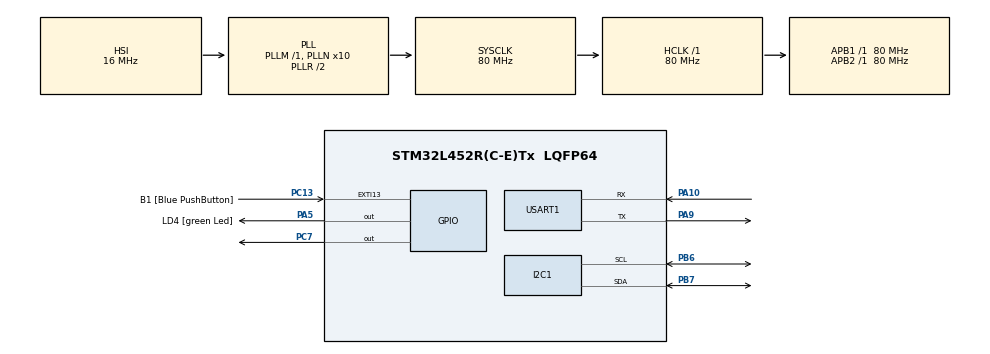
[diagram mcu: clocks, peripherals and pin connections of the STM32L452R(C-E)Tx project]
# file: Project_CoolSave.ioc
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I2C1.Timing=0x10D19CE4
Mcu.Family=STM32L4
Mcu.Name=STM32L452R(C-E)Tx
Mcu.Package=LQFP64
NVIC.PriorityGroup=NVIC_PRIORITYGROUP_4
PA10.Mode=Asynchronous
PA10.Signal=USART1_RX
PA13\ (JTMS/SWDIO).GPIO_Label=TMS
PA13\ (JTMS/SWDIO).Mode=Serial_Wire
PA13\ (JTMS/SWDIO).Signal=SYS_JTMS-SWDIO
PA14\ (JTCK/SWCLK).GPIO_Label=TCK
PA14\ (JTCK/SWCLK).Mode=Serial_Wire
PA14\ (JTCK/SWCLK).Signal=SYS_JTCK-SWCLK
PA2.GPIO_Label=USART_TX
PA2.GPIO_Mode=GPIO_MODE_AF_PP
PA2.GPIO_PuPd=GPIO_NOPULL
PA2.GPIO_Speed=GPIO_SPEED_FREQ_VERY_HIGH
PA2.Signal=USART2_TX
PA3.GPIO_Label=USART_RX
PA3.GPIO_Mode=GPIO_MODE_AF_PP
PA3.GPIO_PuPd=GPIO_NOPULL
PA3.GPIO_Speed=GPIO_SPEED_FREQ_VERY_HIGH
PA3.Signal=USART2_RX
PA5.GPIO_Label=LD4 [green Led]
PA5.GPIO_ModeDefaultOutputPP=GPIO_MODE_OUTPUT_PP
PA5.GPIO_PuPd=GPIO_NOPULL
PA5.GPIO_Speed=GPIO_SPEED_FREQ_LOW
PA5.Signal=GPIO_Output
PA9.Mode=Asynchronous
PA9.Signal=USART1_TX
PB3\ (JTDO/TRACESWO).GPIO_Label=SWO
PB3\ (JTDO/TRACESWO).Signal=SYS_JTDO-SWO
PB6.Mode=I2C
PB6.Signal=I2C1_SCL
PB7.Mode=I2C
PB7.Signal=I2C1_SDA
PC13.GPIO_Label=B1 [Blue PushButton]
PC13.GPIO_ModeDefaultEXTI=GPIO_MODE_IT_FALLING
PC13.GPIO_PuPd=GPIO_NOPULL
PC13.Signal=GPXTI13
PC14-OSC32_IN\ (PC14).Mode=LSE-External-Oscillator
PC14-OSC32_IN\ (PC14).Signal=RCC_OSC32_IN
PC15-OSC32_OUT\ (PC15).Mode=LSE-External-Oscillator
PC15-OSC32_OUT\ (PC15).Signal=RCC_OSC32_OUT
PC7.Signal=GPIO_Output
PH0-OSC_IN\ (PH0).Signal=RCC_OSC_IN
PH1-OSC_OUT\ (PH1).Signal=RCC_OSC_OUT
ProjectManager.HeapSize=0x200
ProjectManager.StackSize=0x400
ProjectManager.TargetToolchain=STM32CubeIDE
RCC.ADCFreq_Value=64000000
RCC.AHBFreq_Value=80000000
RCC.APB1Freq_Value=80000000
RCC.APB1TimFreq_Value=80000000
RCC.APB2Freq_Value=80000000
RCC.APB2TimFreq_Value=80000000
RCC.CortexFreq_Value=80000000
RCC.HCLKFreq_Value=80000000
RCC.HSE_VALUE=8000000
RCC.HSI48_VALUE=48000000
RCC.HSI_VALUE=16000000
RCC.MSI_VALUE=4000000
RCC.PLLN=10
RCC.PLLSourceVirtual=RCC_PLLSOURCE_HSI
RCC.PREFETCH_ENABLE=1
RCC.SYSCLKFreq_VALUE=80000000
RCC.SYSCLKSource=RCC_SYSCLKSOURCE_PLLCLK
RCC.USBFreq_Value=64000000
RCC.VCOOutputFreq_Value=160000000
TIM2.Period=65535
TIM2.Prescaler=79
USART1.VirtualMode-Asynchronous=VM_ASYNC
VP_TIM2_VS_ClockSourceINT.Mode=Internal
board=NUCLEO-L452RE

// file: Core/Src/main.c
/* USER CODE BEGIN Header */
/**
  ******************************************************************************
  * @file           : main.c
  * @brief          : Main program body
  ******************************************************************************
  * @attention
  *
  * Copyright (c) 2025 STMicroelectronics.
  * All rights reserved.
  *
  * This software is licensed under terms that can be found in the LICENSE file
  * in the root directory of this software component.
  * If no LICENSE file comes with this software, it is provided AS-IS.
  *
  ******************************************************************************
  */
/* USER CODE END Header */
#include "main.h"

/* USER CODE BEGIN Includes */
#include "dht11.h"
#include <stdio.h>
#include <string.h>
#include "AP3216.h"

/* USER CODE END Includes */

/* USER CODE BEGIN PD */
char buffer[64];
DHT11_Data dht;
/* USER CODE END PD */

I2C_HandleTypeDef hi2c1;

TIM_HandleTypeDef htim2;

UART_HandleTypeDef huart1;

/* USER CODE BEGIN PV */
void delay_us(uint16_t us)
{
    __HAL_TIM_SET_COUNTER(&htim2, 0);  // Resetează timerul
    HAL_TIM_Base_Start(&htim2);
    while (__HAL_TIM_GET_COUNTER(&htim2) < us);
    HAL_TIM_Base_Stop(&htim2);
}
/* USER CODE END PV */

void SystemClock_Config(void);
static void MX_GPIO_Init(void);
static void MX_I2C1_Init(void);
static void MX_USART1_UART_Init(void);
static void MX_TIM2_Init(void);

int main(void)
{

  /* MCU Configuration--------------------------------------------------------*/

  /* Reset of all peripherals, Initializes the Flash interface and the Systick. */
  HAL_Init();

  /* USER CODE BEGIN Init */
  //AP3216C_Data sensor;

  /* USER CODE END Init */

  /* Configure the system clock */
  SystemClock_Config();

  /* Initialize all configured peripherals */
  MX_GPIO_Init();
  MX_I2C1_Init();
  MX_USART1_UART_Init();
  MX_TIM2_Init();
  /* USER CODE BEGIN 2 */
  DHT11_Init(GPIOC, GPIO_PIN_7);
  AP3216C_Init(&hi2c1);

  /* USER CODE END 2 */

  /* Infinite loop */
  while (1)
  {

    /* USER CODE BEGIN 3 */
	  DHT11_Data dht;

	  if (DHT11_Read(&dht)) {
	      char msg[64];
	      sprintf(msg, "Temperature: %d degC, Humidity: %d%%\r\n", dht.temperature, dht.humidity);
	      HAL_UART_Transmit(&huart1, (uint8_t *)msg, strlen(msg), HAL_MAX_DELAY);
	  } else {
	      HAL_UART_Transmit(&huart1, (uint8_t *)"DHT11 read error\r\n", 19, HAL_MAX_DELAY);
	  }
	  HAL_Delay(2000);

	  AP3216C_Data light;

	  if (AP3216C_ReadALS(&light) == HAL_OK) {
	      char msg[64];
	      sprintf(msg, "Ambient Light: %.2f lux\r\n", light.als_lux);
	      HAL_UART_Transmit(&huart1, (uint8_t *)msg, strlen(msg), HAL_MAX_DELAY);
	  } else {
	      HAL_UART_Transmit(&huart1, (uint8_t *)"ALS read error\r\n", 17, HAL_MAX_DELAY);
	  }
	  HAL_Delay(5000);

  }
  /* USER CODE END 3 */
}

void SystemClock_Config(void)
{
  RCC_OscInitTypeDef RCC_OscInitStruct = {0};
  RCC_ClkInitTypeDef RCC_ClkInitStruct = {0};

  /** Configure the main internal regulator output voltage
  */
  if (HAL_PWREx_ControlVoltageScaling(PWR_REGULATOR_VOLTAGE_SCALE1) != HAL_OK)
  {
    Error_Handler();
  }

  /** Initializes the RCC Oscillators according to the specified parameters
  * in the RCC_OscInitTypeDef structure.
  */
  RCC_OscInitStruct.OscillatorType = RCC_OSCILLATORTYPE_HSI;
  RCC_OscInitStruct.HSIState = RCC_HSI_ON;
  RCC_OscInitStruct.HSICalibrationValue = 64;
  RCC_OscInitStruct.PLL.PLLState = RCC_PLL_ON;
  RCC_OscInitStruct.PLL.PLLSource = RCC_PLLSOURCE_HSI;
  RCC_OscInitStruct.PLL.PLLM = 1;
  RCC_OscInitStruct.PLL.PLLN = 10;
  RCC_OscInitStruct.PLL.PLLP = RCC_PLLP_DIV7;
  RCC_OscInitStruct.PLL.PLLQ = RCC_PLLQ_DIV2;
  RCC_OscInitStruct.PLL.PLLR = RCC_PLLR_DIV2;
  if (HAL_RCC_OscConfig(&RCC_OscInitStruct) != HAL_OK)
  {
    Error_Handler();
  }

  /** Initializes the CPU, AHB and APB buses clocks
  */
  RCC_ClkInitStruct.ClockType = RCC_CLOCKTYPE_HCLK|RCC_CLOCKTYPE_SYSCLK
                              |RCC_CLOCKTYPE_PCLK1|RCC_CLOCKTYPE_PCLK2;
  RCC_ClkInitStruct.SYSCLKSource = RCC_SYSCLKSOURCE_PLLCLK;
  RCC_ClkInitStruct.AHBCLKDivider = RCC_SYSCLK_DIV1;
  RCC_ClkInitStruct.APB1CLKDivider = RCC_HCLK_DIV1;
  RCC_ClkInitStruct.APB2CLKDivider = RCC_HCLK_DIV1;

  if (HAL_RCC_ClockConfig(&RCC_ClkInitStruct, FLASH_LATENCY_4) != HAL_OK)
  {
    Error_Handler();
  }
}

static void MX_I2C1_Init(void)
{

  hi2c1.Instance = I2C1;
  hi2c1.Init.Timing = 0x10D19CE4;
  hi2c1.Init.OwnAddress1 = 0;
  hi2c1.Init.AddressingMode = I2C_ADDRESSINGMODE_7BIT;
  hi2c1.Init.DualAddressMode = I2C_DUALADDRESS_DISABLE;
  hi2c1.Init.OwnAddress2 = 0;
  hi2c1.Init.OwnAddress2Masks = I2C_OA2_NOMASK;
  hi2c1.Init.GeneralCallMode = I2C_GENERALCALL_DISABLE;
  hi2c1.Init.NoStretchMode = I2C_NOSTRETCH_DISABLE;
  if (HAL_I2C_Init(&hi2c1) != HAL_OK)
  {
    Error_Handler();
  }

  /** Configure Analogue filter
  */
  if (HAL_I2CEx_ConfigAnalogFilter(&hi2c1, I2C_ANALOGFILTER_ENABLE) != HAL_OK)
  {
    Error_Handler();
  }

  /** Configure Digital filter
  */
  if (HAL_I2CEx_ConfigDigitalFilter(&hi2c1, 0) != HAL_OK)
  {
    Error_Handler();
  }

}

static void MX_TIM2_Init(void)
{

  TIM_ClockConfigTypeDef sClockSourceConfig = {0};
  TIM_MasterConfigTypeDef sMasterConfig = {0};

  htim2.Instance = TIM2;
  htim2.Init.Prescaler = 79;
  htim2.Init.CounterMode = TIM_COUNTERMODE_UP;
  htim2.Init.Period = 65535;
  htim2.Init.ClockDivision = TIM_CLOCKDIVISION_DIV1;
  htim2.Init.AutoReloadPreload = TIM_AUTORELOAD_PRELOAD_DISABLE;
  if (HAL_TIM_Base_Init(&htim2) != HAL_OK)
  {
    Error_Handler();
  }
  sClockSourceConfig.ClockSource = TIM_CLOCKSOURCE_INTERNAL;
  if (HAL_TIM_ConfigClockSource(&htim2, &sClockSourceConfig) != HAL_OK)
  {
    Error_Handler();
  }
  sMasterConfig.MasterOutputTrigger = TIM_TRGO_RESET;
  sMasterConfig.MasterSlaveMode = TIM_MASTERSLAVEMODE_DISABLE;
  if (HAL_TIMEx_MasterConfigSynchronization(&htim2, &sMasterConfig) != HAL_OK)
  {
    Error_Handler();
  }

}

static void MX_USART1_UART_Init(void)
{

  huart1.Instance = USART1;
  huart1.Init.BaudRate = 115200;
  huart1.Init.WordLength = UART_WORDLENGTH_8B;
  huart1.Init.StopBits = UART_STOPBITS_1;
  huart1.Init.Parity = UART_PARITY_NONE;
  huart1.Init.Mode = UART_MODE_TX_RX;
  huart1.Init.HwFlowCtl = UART_HWCONTROL_NONE;
  huart1.Init.OverSampling = UART_OVERSAMPLING_16;
  huart1.Init.OneBitSampling = UART_ONE_BIT_SAMPLE_DISABLE;
  huart1.AdvancedInit.AdvFeatureInit = UART_ADVFEATURE_NO_INIT;
  if (HAL_UART_Init(&huart1) != HAL_OK)
  {
    Error_Handler();
  }

}

static void MX_GPIO_Init(void)
{
  GPIO_InitTypeDef GPIO_InitStruct = {0};

  /* GPIO Ports Clock Enable */
  __HAL_RCC_GPIOC_CLK_ENABLE();
  __HAL_RCC_GPIOH_CLK_ENABLE();
  __HAL_RCC_GPIOA_CLK_ENABLE();
  __HAL_RCC_GPIOB_CLK_ENABLE();

  /*Configure GPIO pin Output Level */
  HAL_GPIO_WritePin(LD4_GPIO_Port, LD4_Pin, GPIO_PIN_RESET);

  /*Configure GPIO pin Output Level */
  HAL_GPIO_WritePin(GPIOC, GPIO_PIN_7, GPIO_PIN_RESET);

  /*Configure GPIO pin : B1_Pin */
  GPIO_InitStruct.Pin = B1_Pin;
  GPIO_InitStruct.Mode = GPIO_MODE_IT_FALLING;
  GPIO_InitStruct.Pull = GPIO_NOPULL;
  HAL_GPIO_Init(B1_GPIO_Port, &GPIO_InitStruct);

  /*Configure GPIO pins : USART_TX_Pin USART_RX_Pin */
  GPIO_InitStruct.Pin = USART_TX_Pin|USART_RX_Pin;
  GPIO_InitStruct.Mode = GPIO_MODE_AF_PP;
  GPIO_InitStruct.Pull = GPIO_NOPULL;
  GPIO_InitStruct.Speed = GPIO_SPEED_FREQ_VERY_HIGH;
  GPIO_InitStruct.Alternate = GPIO_AF7_USART2;
  HAL_GPIO_Init(GPIOA, &GPIO_InitStruct);

  /*Configure GPIO pin : LD4_Pin */
  GPIO_InitStruct.Pin = LD4_Pin;
  GPIO_InitStruct.Mode = GPIO_MODE_OUTPUT_PP;
  GPIO_InitStruct.Pull = GPIO_NOPULL;
  GPIO_InitStruct.Speed = GPIO_SPEED_FREQ_LOW;
  HAL_GPIO_Init(LD4_GPIO_Port, &GPIO_InitStruct);

  /*Configure GPIO pin : PC7 */
  GPIO_InitStruct.Pin = GPIO_PIN_7;
  GPIO_InitStruct.Mode = GPIO_MODE_OUTPUT_PP;
  GPIO_InitStruct.Pull = GPIO_NOPULL;
  GPIO_InitStruct.Speed = GPIO_SPEED_FREQ_LOW;
  HAL_GPIO_Init(GPIOC, &GPIO_InitStruct);

}

void Error_Handler(void)
{
  __disable_irq();
  while (1)
  {
  }
}
